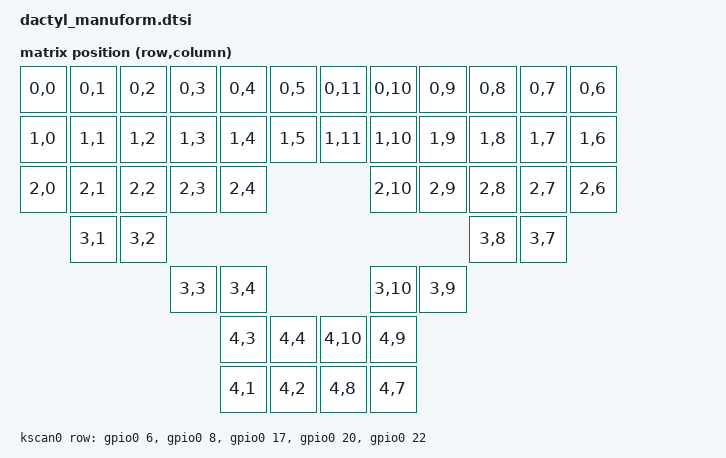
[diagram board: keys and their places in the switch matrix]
#include <dt-bindings/zmk/matrix_transform.h>
#include <physical_layouts.dtsi>

/ {
    dactyl_layout: dactyl_layout {
        compatible = "zmk,physical-layout";
        display-name = "dactyl";

        kscan = <&kscan0>;
        transform = <&matrix_transform0>;

        keys  //                     w   h    x    y     rot    rx    ry
            = <&key_physical_attrs 100 100    0    0       0     0     0>
            , <&key_physical_attrs 100 100  100    0       0     0     0>
            , <&key_physical_attrs 100 100  200    0       0     0     0>
            , <&key_physical_attrs 100 100  300    0       0     0     0>
            , <&key_physical_attrs 100 100  400    0       0     0     0>
            , <&key_physical_attrs 100 100  500    0       0     0     0>
            , <&key_physical_attrs 100 100  700    0       0     0     0>
            , <&key_physical_attrs 100 100  800    0       0     0     0>
            , <&key_physical_attrs 100 100  900    0       0     0     0>
            , <&key_physical_attrs 100 100 1000    0       0     0     0>
            , <&key_physical_attrs 100 100 1100    0       0     0     0>
            , <&key_physical_attrs 100 100 1200    0       0     0     0>
            , <&key_physical_attrs 100 100    0  125       0     0     0>
            , <&key_physical_attrs 100 100  100  125       0     0     0>
            , <&key_physical_attrs 100 100  200  125       0     0     0>
            , <&key_physical_attrs 100 100  300  125       0     0     0>
            , <&key_physical_attrs 100 100  400  125       0     0     0>
            , <&key_physical_attrs 100 100  500  125       0     0     0>
            , <&key_physical_attrs 100 100  700  125       0     0     0>
            , <&key_physical_attrs 100 100  800  125       0     0     0>
            , <&key_physical_attrs 100 100  900  125       0     0     0>
            , <&key_physical_attrs 100 100 1000  125       0     0     0>
            , <&key_physical_attrs 100 100 1100  125       0     0     0>
            , <&key_physical_attrs 100 100 1200  125       0     0     0>
            , <&key_physical_attrs 100 100    0  250       0     0     0>
            , <&key_physical_attrs 100 100  100  250       0     0     0>
            , <&key_physical_attrs 100 100  200  250       0     0     0>
            , <&key_physical_attrs 100 100  300  250       0     0     0>
            , <&key_physical_attrs 100 100  400  250       0     0     0>
            , <&key_physical_attrs 100 100  800  250       0     0     0>
            , <&key_physical_attrs 100 100  900  250       0     0     0>
            , <&key_physical_attrs 100 100 1000  250       0     0     0>
            , <&key_physical_attrs 100 100 1100  250       0     0     0>
            , <&key_physical_attrs 100 100 1200  250       0     0     0>
            , <&key_physical_attrs 100 100  100  375       0     0     0>
            , <&key_physical_attrs 100 100  200  375       0     0     0>
            , <&key_physical_attrs 100 100 1000  375       0     0     0>
            , <&key_physical_attrs 100 100 1100  375       0     0     0>
            , <&key_physical_attrs 100 100  350  500       0     0     0>
            , <&key_physical_attrs 100 100  450  500       0     0     0>
            , <&key_physical_attrs 100 100  750  500       0     0     0>
            , <&key_physical_attrs 100 100  850  500       0     0     0>
            , <&key_physical_attrs 100 100  350  625       0     0     0>
            , <&key_physical_attrs 100 100  450  625       0     0     0>
            , <&key_physical_attrs 100 100  750  625       0     0     0>
            , <&key_physical_attrs 100 100  850  625       0     0     0>
            ;
    };
};

/ {
    chosen {
        zmk,kscan = &kscan0;
        zmk,physical-layouts = &dactyl_layout;
    };

    default_transform: keymap_transform_0 {
        compatible = "zmk,matrix-transform";
        columns = <12>;
        rows = <5>;
// | MX1  | MX2  | MX3  | MX4  | MX5  | MX47 |   | MX48 | MX6  | MX7  | MX8  | MX9  | MX10 |
// | MX11 | MX12 | MX13 | MX14 | MX15 | MX49 |   | MX50 | MX16 | MX17 | MX18 | MX19 | MX20 |
// | MX21 | MX22 | MX23 | MX24 | MX25 |                 | MX26 | MX27 | MX28 | MX29 | MX30 |
//        | MX31 | MX32 |                                             | MX33 | MX34 |
//                      | MX35 | MX36 |                 | MX37 | MX38 |
//                             | MX39 | MX40 |   | MX41 | MX42 |
//                             | MX43 | MX44 |   | MX45 | MX46 |

        map = <
RC(0,0) RC(0,1) RC(0,2) RC(0,3) RC(0,4) RC(0,5)  RC(0,11) RC(0,10) RC(0,9) RC(0,8) RC(0,7) RC(0,6)
RC(1,0) RC(1,1) RC(1,2) RC(1,3) RC(1,4) RC(1,5)  RC(1,11) RC(1,10) RC(1,9) RC(1,8) RC(1,7) RC(1,6)
RC(2,0) RC(2,1) RC(2,2) RC(2,3) RC(2,4)                   RC(2,10) RC(2,9) RC(2,8) RC(2,7) RC(2,6)
        RC(3,1) RC(3,2)                                                   RC(3,8) RC(3,7)
                        RC(3,3) RC(3,4)                   RC(3,10) RC(3,9)
                                RC(4,3) RC(4,4)   RC(4,10) RC(4,9)
                                RC(4,1) RC(4,2)   RC(4,8) RC(4,7)
        >;
    };

    kscan0: kscan {
        compatible = "zmk,kscan-gpio-matrix";
        label = "KSCAN";

        diode-direction = "col2row";
        row-gpios
            = <&gpio0 6 (GPIO_ACTIVE_HIGH | GPIO_PULL_DOWN)>
            , <&gpio0 8 (GPIO_ACTIVE_HIGH | GPIO_PULL_DOWN)>
            , <&gpio0 17 (GPIO_ACTIVE_HIGH | GPIO_PULL_DOWN)>
            , <&gpio0 20 (GPIO_ACTIVE_HIGH | GPIO_PULL_DOWN)>
            , <&gpio0 22 (GPIO_ACTIVE_HIGH | GPIO_PULL_DOWN)>
            ;

    };
};

&dactyl_layout{

	transform = <&default_transform>;

	kscan = <&kscan0>;

};



zephyr_udc0: &usbd { 

    compatible = "nordic,nrf-usbd"; 

    status = "okay"; 

};

